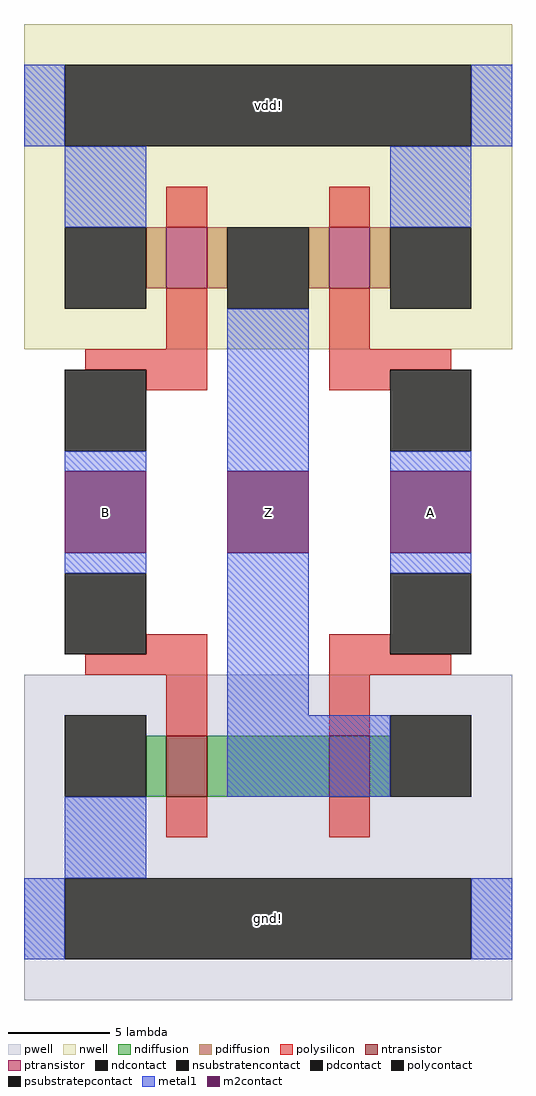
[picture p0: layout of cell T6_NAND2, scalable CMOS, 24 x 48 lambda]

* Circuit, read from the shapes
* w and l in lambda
.subckt T6_NAND2 A B Z gnd! vdd!
M1 n1 B gnd! gnd! nfet w=3 l=2
M2 Z A n1 gnd! nfet w=3 l=2
M3 Z B vdd! vdd! pfet w=3 l=2
M4 vdd! A Z vdd! pfet w=3 l=2
.ends

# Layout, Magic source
magic
tech scmos
<< pwell >>
rect 0 0 24 16
<< nwell >>
rect 0 32 24 48
<< polysilicon >>
rect 7 38 9 40
rect 15 38 17 40
rect 7 32 9 35
rect 3 31 9 32
rect 6 30 9 31
rect 15 32 17 35
rect 15 31 21 32
rect 15 30 18 31
rect 6 17 9 18
rect 3 16 9 17
rect 7 13 9 16
rect 15 17 18 18
rect 15 16 21 17
rect 15 13 17 16
rect 7 8 9 10
rect 15 8 17 10
<< ndiffusion >>
rect 6 10 7 13
rect 9 10 15 13
rect 17 10 18 13
<< pdiffusion >>
rect 6 35 7 38
rect 9 35 10 38
rect 14 35 15 38
rect 17 35 18 38
<< metal1 >>
rect 0 42 2 46
rect 22 42 24 46
rect 2 38 6 42
rect 18 38 22 42
rect 2 26 6 27
rect 2 21 6 22
rect 10 26 14 34
rect 10 14 14 22
rect 18 26 22 27
rect 18 21 22 22
rect 10 10 18 14
rect 2 6 6 10
rect 0 2 2 6
rect 22 2 24 6
<< ntransistor >>
rect 7 10 9 13
rect 15 10 17 13
<< ptransistor >>
rect 7 35 9 38
rect 15 35 17 38
<< polycontact >>
rect 2 27 6 31
rect 18 27 22 31
rect 2 17 6 21
rect 18 17 22 21
<< ndcontact >>
rect 2 10 6 14
rect 18 10 22 14
<< pdcontact >>
rect 2 34 6 38
rect 10 34 14 38
rect 18 34 22 38
<< m2contact >>
rect 2 22 6 26
rect 10 22 14 26
rect 18 22 22 26
<< psubstratepcontact >>
rect 2 2 22 6
<< nsubstratencontact >>
rect 2 42 22 46
<< labels >>
rlabel psubstratepcontact 2 2 22 6 1 gnd!
rlabel m2contact 18 22 22 26 1 A
rlabel m2contact 2 22 6 26 3 B
rlabel m2contact 10 22 14 26 1 Z
rlabel nsubstratencontact 2 42 22 46 5 vdd!
<< end >>
